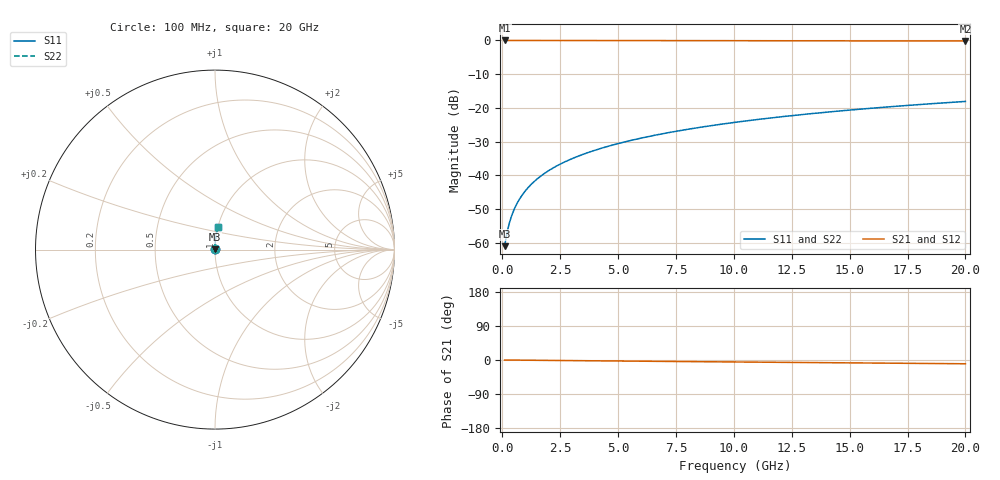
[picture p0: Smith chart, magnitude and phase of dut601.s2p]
! Touchstone file exported from HFSS 2024.1.0
!  File:  C:/UserFiles/LocalFiles/RDL_TSV_Batchsim/temp_RDL_top_601_1779779399.aedt
!  Generated:  03:12:47 PM May 26, 2026
!  Design:  RDL_top
!  Project:  temp_RDL_top_601_1779779399
!  Setup:  Setup1
!  Solution:  Sweep
! Variables:
!  dtsv = 10.80580581um
!  hbump = 3um
!  htsv = 64.71um
!  ldown = 100um
!  lrdl = 104.27um
!  p = 40
!  p1 = 47.9um
!  rhole = 1um
!  t = 450um
!  tdown = 3.915915916um
!  trdl = 4.37um
!  wdown = 15.38538539um
!  wrdl = 17.69um
# GHz S MA R 50.000000
! Terminal data exported
! Port[1] = Box2_T1
! Port[2] = Box2_T2
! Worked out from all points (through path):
!   200 points, 100 MHz to 20 GHz, reference 50 ohm
!   highest |S21| = -0.01 dB at 100 MHz (marker M1); lowest = -0.2 dB at 20 GHz (marker M2)
!   group delay of S21, straight-line fit = 1.37 ps
!   lowest |S11| = -61.0 dB at 100 MHz (marker M3), VSWR 1.00, Z = 50.1 + j0.0617 ohm
!   |S11| at or under -10 dB: start of sweep to end of sweep
!   |S22| runs from -61.0 to -18.1 dB; largest |S21 - S12| = 2.1e-15
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0.1  0.000887 44.0  0.9994 -0.1  0.9994 -0.1  0.000887 44.0
! Gamma 0 0 0 0
! Port Impedance 50 0 50 0
0.2  0.001386 61.5  0.9993 -0.1  0.9993 -0.1  0.001386 61.5
0.3  0.001931 69.2  0.9993 -0.2  0.9993 -0.2  0.001931 69.2
0.4  0.002487 73.6  0.9993 -0.2  0.9993 -0.2  0.002487 73.6
0.5  0.003048 76.4  0.9992 -0.3  0.9992 -0.3  0.003048 76.4
0.6  0.003612 78.4  0.9992 -0.3  0.9992 -0.3  0.003612 78.4
0.8  0.00475 81.1  0.9992 -0.4  0.9992 -0.4  0.00475 81.1
1.1  0.006471 83.4  0.9991 -0.6  0.9991 -0.6  0.006471 83.4
1.5  0.008782 85.1  0.9989 -0.8  0.9989 -0.8  0.008782 85.1
1.8  0.01052 85.9  0.9988 -1.0  0.9988 -1.0  0.01052 85.9
2.1  0.01227 86.5  0.9987 -1.2  0.9987 -1.2  0.01227 86.5
2.7  0.01579 87.3  0.9983 -1.5  0.9983 -1.5  0.01579 87.3
3.5  0.02051 87.9  0.9977 -1.9  0.9977 -1.9  0.02051 87.9
4.2  0.02469 88.2  0.9971 -2.3  0.9971 -2.3  0.02469 88.2
5  0.0295 88.3  0.9964 -2.7  0.9964 -2.7  0.0295 88.3
5.9  0.03498 88.4  0.9955 -3.2  0.9955 -3.2  0.03498 88.4
6.8  0.04053 88.3  0.9946 -3.6  0.9946 -3.6  0.04053 88.3
8.3  0.04989 88.1  0.9931 -4.4  0.9931 -4.4  0.04989 88.1
10.1  0.06128 87.5  0.9912 -5.2  0.9912 -5.2  0.06128 87.5
13.4  0.08239 86.0  0.9877 -6.8  0.9877 -6.8  0.08239 86.0
16.7  0.1035 84.4  0.9843 -8.4  0.9843 -8.4  0.1035 84.4
20  0.1245 82.6  0.9807 -9.9  0.9807 -9.9  0.1245 82.6
